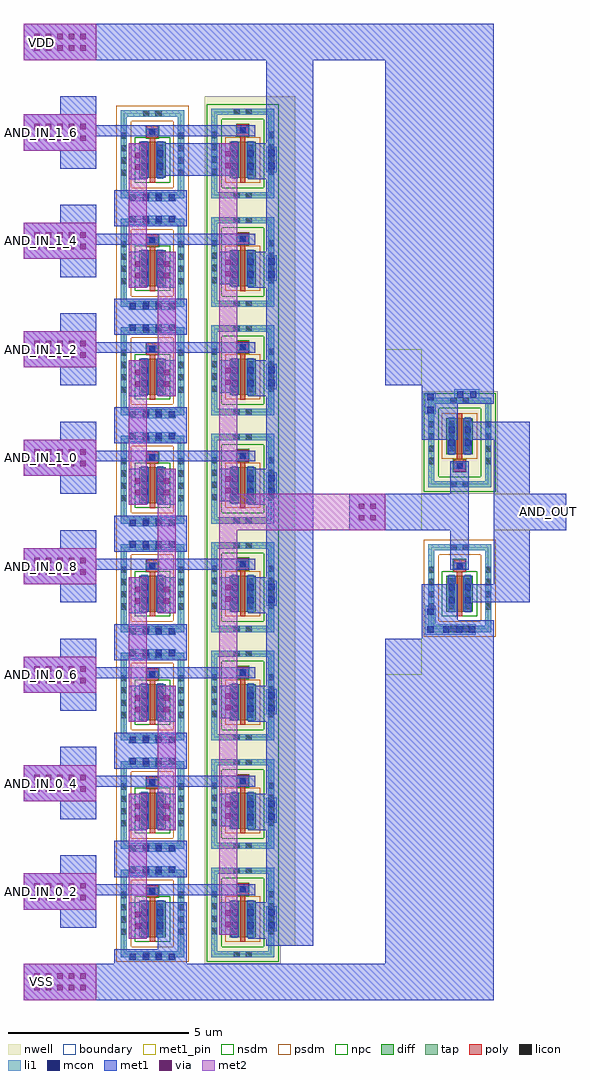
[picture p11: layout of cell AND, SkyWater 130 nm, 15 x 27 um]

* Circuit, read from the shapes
.subckt AND AND_IN_0_2 AND_IN_0_4 AND_IN_0_6 AND_IN_0_8 AND_IN_1_0 AND_IN_1_2 AND_IN_1_4 AND_IN_1_6 AND_OUT VDD VSS
XM1 VSS AND_IN_0_2 n1 VSS sky130_fd_pr__nfet_01v8 w=1 l=0.15
XM2 n2 AND_IN_0_4 n1 VSS sky130_fd_pr__nfet_01v8 w=1 l=0.15
XM3 n2 AND_IN_0_6 n3 VSS sky130_fd_pr__nfet_01v8 w=1 l=0.15
XM4 n4 AND_IN_0_8 n3 VSS sky130_fd_pr__nfet_01v8 w=1 l=0.15
XM5 n4 AND_IN_1_0 n5 VSS sky130_fd_pr__nfet_01v8 w=1 l=0.15
XM6 n6 AND_IN_1_2 n5 VSS sky130_fd_pr__nfet_01v8 w=1 l=0.15
XM7 n6 AND_IN_1_4 n7 VSS sky130_fd_pr__nfet_01v8 w=1 l=0.15
XM8 inv_x1_0/INV_IN AND_IN_1_6 n7 VSS sky130_fd_pr__nfet_01v8 w=1 l=0.15
XM9 AND_OUT inv_x1_0/INV_IN VSS VSS sky130_fd_pr__nfet_01v8 w=1 l=0.15
XM10 VDD AND_IN_0_2 inv_x1_0/INV_IN VDD sky130_fd_pr__pfet_01v8 w=1 l=0.15
XM11 VDD AND_IN_0_4 inv_x1_0/INV_IN VDD sky130_fd_pr__pfet_01v8 w=1 l=0.15
XM12 VDD AND_IN_0_6 inv_x1_0/INV_IN VDD sky130_fd_pr__pfet_01v8 w=1 l=0.15
XM13 VDD AND_IN_0_8 inv_x1_0/INV_IN VDD sky130_fd_pr__pfet_01v8 w=1 l=0.15
XM14 VDD AND_IN_1_0 inv_x1_0/INV_IN VDD sky130_fd_pr__pfet_01v8 w=1 l=0.15
XM15 VDD AND_IN_1_2 inv_x1_0/INV_IN VDD sky130_fd_pr__pfet_01v8 w=1 l=0.15
XM16 VDD AND_IN_1_4 inv_x1_0/INV_IN VDD sky130_fd_pr__pfet_01v8 w=1 l=0.15
XM17 VDD AND_IN_1_6 inv_x1_0/INV_IN VDD sky130_fd_pr__pfet_01v8 w=1 l=0.15
XM18 AND_OUT inv_x1_0/INV_IN VDD VDD sky130_fd_pr__pfet_01v8 w=1 l=0.15
.ends

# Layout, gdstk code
import gdstk
lib = gdstk.Library(unit=1e-6, precision=1e-09)
def R(c, l, rs):  # rectangles x0, y0, x1, y1
    for r in rs: c.add(gdstk.rectangle(r[:2], r[2:], *l))
def A(c, l, x, y, w, h, nx, ny, dx, dy):  # array of equal rectangles
    R(c, l, [(x+i*dx, y+j*dy, x+i*dx+w, y+j*dy+h) for i in range(nx) for j in range(ny)])
nwell = (64, 20)
diff = (65, 20)
tap = (65, 44)
poly = (66, 20)
licon = (66, 44)
li1 = (67, 20)
mcon = (67, 44)
met1_pin = (68, 16)
met1 = (68, 20)
via = (68, 44)
met2 = (69, 20)
nsdm = (93, 44)
psdm = (94, 20)
npc = (95, 20)
boundary = (235, 4)

sky130_fd_pr__nfet_01v8_ = lib.new_cell('sky130_fd_pr__nfet_01v8_64Z3AY')
R(sky130_fd_pr__nfet_01v8_, diff, [(-0.365,-0.655,0.365,0.345)])
R(sky130_fd_pr__nfet_01v8_, tap, [(-0.875,-1.215,0.875,-1.045), (-0.875,-1.045,-0.705,1.045), (0.705,-1.045,0.875,1.045), (-0.875,1.045,0.875,1.215)])
R(sky130_fd_pr__nfet_01v8_, poly, [(-0.075,-0.785,0.075,0.455), (-0.165,0.455,0.165,0.785)])
A(sky130_fd_pr__nfet_01v8_, licon, -0.875, -0.595, 0.17, 0.17, 1, 4, 0, 0.34)
A(sky130_fd_pr__nfet_01v8_, licon, 0.705, -0.595, 0.17, 0.17, 1, 4, 0, 0.34)
A(sky130_fd_pr__nfet_01v8_, licon, -0.305, -0.58, 0.17, 0.17, 1, 3, 0, 0.34)
A(sky130_fd_pr__nfet_01v8_, licon, 0.135, -0.58, 0.17, 0.17, 1, 3, 0, 0.34)
R(sky130_fd_pr__nfet_01v8_, licon, [(-0.255,-1.215,-0.085,-1.045), (0.085,-1.215,0.255,-1.045), (-0.085,0.535,0.085,0.705), (-0.255,1.045,-0.085,1.215), (0.085,1.045,0.255,1.215)])
R(sky130_fd_pr__nfet_01v8_, li1, [(-0.875,-1.215,0.875,-1.045), (-0.875,-1.045,-0.705,1.045), (0.705,-1.045,0.875,1.045), (-0.305,-0.675,-0.135,0.365), (0.135,-0.675,0.305,0.365), (-0.165,0.535,0.165,0.705), (-0.875,1.045,0.875,1.215)])
R(sky130_fd_pr__nfet_01v8_, mcon, [(-0.305,-0.42,-0.135,-0.25), (0.135,-0.42,0.305,-0.25), (-0.305,-0.06,-0.135,0.11), (0.135,-0.06,0.305,0.11), (-0.085,0.535,0.085,0.705)])
R(sky130_fd_pr__nfet_01v8_, met1, [(-0.335,-0.655,-0.105,0.345), (0.105,-0.655,0.335,0.345), (-0.145,0.505,0.145,0.735)])
R(sky130_fd_pr__nfet_01v8_, nsdm, [(-0.49,-0.78,0.49,0.47)])
R(sky130_fd_pr__nfet_01v8_, psdm, [(-1,-1.34,1,-0.92), (-1,-0.92,-0.58,0.92), (0.58,-0.92,1,0.92), (-1,0.92,1,1.34)])
R(sky130_fd_pr__nfet_01v8_, npc, [(-0.185,0.435,0.185,0.805)])
R(sky130_fd_pr__nfet_01v8_, boundary, [(-0.79,-1.13,0.79,1.13)])

sky130_fd_pr__pfet_01v8_ = lib.new_cell('sky130_fd_pr__pfet_01v8_LGS3BL')
R(sky130_fd_pr__pfet_01v8_, nwell, [(-1.055,-1.42,1.055,1.42)])
R(sky130_fd_pr__pfet_01v8_, diff, [(-0.365,-0.32,0.365,0.68)])
R(sky130_fd_pr__pfet_01v8_, tap, [(-0.875,-1.24,0.875,-1.07), (-0.875,-1.07,-0.705,1.07), (0.705,-1.07,0.875,1.07), (-0.875,1.07,0.875,1.24)])
R(sky130_fd_pr__pfet_01v8_, poly, [(-0.165,-0.805,0.165,-0.475), (-0.075,-0.475,0.075,0.81)])
A(sky130_fd_pr__pfet_01v8_, licon, -0.875, -0.595, 0.17, 0.17, 1, 4, 0, 0.34)
A(sky130_fd_pr__pfet_01v8_, licon, 0.705, -0.595, 0.17, 0.17, 1, 4, 0, 0.34)
A(sky130_fd_pr__pfet_01v8_, licon, -0.305, -0.245, 0.17, 0.17, 1, 3, 0, 0.34)
A(sky130_fd_pr__pfet_01v8_, licon, 0.135, -0.245, 0.17, 0.17, 1, 3, 0, 0.34)
R(sky130_fd_pr__pfet_01v8_, licon, [(-0.255,-1.24,-0.085,-1.07), (0.085,-1.24,0.255,-1.07), (-0.085,-0.725,0.085,-0.555), (-0.255,1.07,-0.085,1.24), (0.085,1.07,0.255,1.24)])
R(sky130_fd_pr__pfet_01v8_, li1, [(-0.875,-1.24,0.875,-1.07), (-0.875,-1.07,-0.705,1.07), (0.705,-1.07,0.875,1.07), (-0.165,-0.725,0.165,-0.555), (-0.305,-0.34,-0.135,0.7), (0.135,-0.34,0.305,0.7), (-0.875,1.07,0.875,1.24)])
R(sky130_fd_pr__pfet_01v8_, mcon, [(-0.085,-0.725,0.085,-0.555), (-0.305,-0.085,-0.135,0.085), (0.135,-0.085,0.305,0.085), (-0.305,0.275,-0.135,0.445), (0.135,0.275,0.305,0.445)])
R(sky130_fd_pr__pfet_01v8_, met1, [(-0.145,-0.755,0.145,-0.525), (-0.335,-0.32,-0.105,0.68), (0.105,-0.32,0.335,0.68)])
R(sky130_fd_pr__pfet_01v8_, nsdm, [(-1,-1.365,1,-0.945), (-1,-0.945,-0.58,0.945), (0.58,-0.945,1,0.945), (-1,0.945,1,1.365)])
R(sky130_fd_pr__pfet_01v8_, psdm, [(-0.49,-0.445,0.49,0.805)])
R(sky130_fd_pr__pfet_01v8_, npc, [(-0.185,-0.825,0.185,-0.455)])
R(sky130_fd_pr__pfet_01v8_, boundary, [(-0.79,-1.155,0.79,1.155)])

inv_x1 = lib.new_cell('inv_x1')
R(inv_x1, li1, [(2.1,-5.9,3.5,-5.6), (2.1,-5.6,2.4,-5.1), (2.1,0.2,2.4,0.8), (2.9,0.6,3.6,0.9)])
A(inv_x1, mcon, 2.6, -5.835, 0.17, 0.17, 3, 1, 0.36, 0)
R(inv_x1, mcon, [(2.165,-5.835,2.335,-5.665), (2.165,-5.34,2.335,-5.17), (2.165,0.235,2.335,0.405), (2.165,0.595,2.335,0.765), (2.985,0.665,3.155,0.835), (3.345,0.665,3.515,0.835)])
A(inv_x1, met1_pin, 1, -7, 1, 1, 1, 3, 0, 4)
R(inv_x1, met1_pin, [(4,-3,5,-2)])
R(inv_x1, met1, [(1,-7,4,-6), (2,-6,4,-5.5), (2,-5.5,3,-4.5), (3.2,-5,5,-4.5), (4,-4.5,5,-0.5), (2.8,-4.1,3.3,-3), (1,-3,3.3,-2), (2.8,-2,3.3,-1.1), (2,-0.5,3,0.5), (3.2,-0.5,5,0), (2,0.5,4,1), (1,1,4,2)])
inv_x1.add(gdstk.Reference(sky130_fd_pr__nfet_01v8_, (3.055,-4.605)))
inv_x1.add(gdstk.Reference(sky130_fd_pr__pfet_01v8_, (3.055,-0.58)))
inv_x1.add(gdstk.Label('VDD', (1.5,1.5), layer=68, texttype=5))
inv_x1.add(gdstk.Label('VSS', (1.5,-6.5), layer=68, texttype=5))
inv_x1.add(gdstk.Label('INV_OUT', (4.5,-2.5), layer=68, texttype=5))
inv_x1.add(gdstk.Label('INV_IN', (1.5,-2.5), layer=68, texttype=5))

c_sky130_fd_pr__pfet_01v8_ = lib.new_cell('sky130_fd_pr__pfet_01v8_MGS3BN')
R(c_sky130_fd_pr__pfet_01v8_, nwell, [(-1.055,-1.42,1.055,1.42)])
R(c_sky130_fd_pr__pfet_01v8_, diff, [(-0.365,-0.68,0.365,0.32)])
R(c_sky130_fd_pr__pfet_01v8_, tap, [(-0.875,-1.24,0.875,-1.07), (-0.875,-1.07,-0.705,1.07), (0.705,-1.07,0.875,1.07), (-0.875,1.07,0.875,1.24)])
R(c_sky130_fd_pr__pfet_01v8_, poly, [(-0.075,-0.81,0.075,0.475), (-0.165,0.475,0.165,0.805)])
A(c_sky130_fd_pr__pfet_01v8_, licon, -0.305, -0.605, 0.17, 0.17, 1, 3, 0, 0.34)
A(c_sky130_fd_pr__pfet_01v8_, licon, 0.135, -0.605, 0.17, 0.17, 1, 3, 0, 0.34)
A(c_sky130_fd_pr__pfet_01v8_, licon, -0.875, -0.595, 0.17, 0.17, 1, 4, 0, 0.34)
A(c_sky130_fd_pr__pfet_01v8_, licon, 0.705, -0.595, 0.17, 0.17, 1, 4, 0, 0.34)
R(c_sky130_fd_pr__pfet_01v8_, licon, [(-0.255,-1.24,-0.085,-1.07), (0.085,-1.24,0.255,-1.07), (-0.085,0.555,0.085,0.725), (-0.255,1.07,-0.085,1.24), (0.085,1.07,0.255,1.24)])
R(c_sky130_fd_pr__pfet_01v8_, li1, [(-0.875,-1.24,0.875,-1.07), (-0.875,-1.07,-0.705,1.07), (0.705,-1.07,0.875,1.07), (-0.305,-0.7,-0.135,0.34), (0.135,-0.7,0.305,0.34), (-0.165,0.555,0.165,0.725), (-0.875,1.07,0.875,1.24)])
R(c_sky130_fd_pr__pfet_01v8_, mcon, [(-0.305,-0.445,-0.135,-0.275), (0.135,-0.445,0.305,-0.275), (-0.305,-0.085,-0.135,0.085), (0.135,-0.085,0.305,0.085), (-0.085,0.555,0.085,0.725)])
R(c_sky130_fd_pr__pfet_01v8_, met1, [(-0.335,-0.68,-0.105,0.32), (0.105,-0.68,0.335,0.32), (-0.145,0.525,0.145,0.755)])
R(c_sky130_fd_pr__pfet_01v8_, nsdm, [(-1,-1.365,1,-0.945), (-1,-0.945,-0.58,0.945), (0.58,-0.945,1,0.945), (-1,0.945,1,1.365)])
R(c_sky130_fd_pr__pfet_01v8_, psdm, [(-0.49,-0.805,0.49,0.445)])
R(c_sky130_fd_pr__pfet_01v8_, npc, [(-0.185,0.455,0.185,0.825)])
R(c_sky130_fd_pr__pfet_01v8_, boundary, [(-0.79,-1.155,0.79,1.155)])

nand = lib.new_cell('NAND')
R(nand, nwell, [(4,-22,5.5,-21.5), (4,-21.5,6.5,2)])
A(nand, li1, 5.7, -21.1, 0.3, 0.7, 1, 8, 0, 3)
R(nand, li1, [(1.9,-21.9,3.2,-21.7), (1.9,-19.5,3.2,-19.3), (1.9,-18.9,3.2,-18.7), (1.9,-16.5,3.2,-16.3), (1.9,-15.9,3.2,-15.7), (1.9,-13.5,3.2,-13.3), (1.9,-12.9,3.2,-12.7), (1.9,-10.5,3.2,-10.3), (1.9,-9.9,3.2,-9.7), (1.9,-7.5,3.2,-7.3), (1.9,-6.9,3.2,-6.7), (1.9,-4.5,3.2,-4.3), (1.9,-3.9,3.2,-3.7), (1.9,-1.5,3.2,-1.3), (1.9,-0.9,3.2,-0.7)])
A(nand, mcon, 1.925, -21.885, 0.17, 0.17, 4, 2, 0.36, 2.4)
A(nand, mcon, 1.925, -18.885, 0.17, 0.17, 4, 2, 0.36, 2.4)
A(nand, mcon, 1.925, -15.885, 0.17, 0.17, 4, 2, 0.36, 2.4)
A(nand, mcon, 1.925, -12.885, 0.17, 0.17, 4, 2, 0.36, 2.4)
A(nand, mcon, 1.925, -9.885, 0.17, 0.17, 4, 2, 0.36, 2.4)
A(nand, mcon, 1.925, -6.885, 0.17, 0.17, 4, 2, 0.36, 2.4)
A(nand, mcon, 1.925, -3.885, 0.17, 0.17, 4, 2, 0.36, 2.4)
A(nand, mcon, 1.925, -0.885, 0.17, 0.17, 4, 1, 0.36, 0)
R(nand, mcon, [(5.765,-21.015,5.935,-20.845), (5.765,-20.655,5.935,-20.485), (5.765,-18.015,5.935,-17.845), (5.765,-17.655,5.935,-17.485), (5.765,-15.015,5.935,-14.845), (5.765,-14.655,5.935,-14.485), (5.765,-12.015,5.935,-11.845), (5.765,-11.655,5.935,-11.485), (5.765,-9.015,5.935,-8.845), (5.765,-8.655,5.935,-8.485), (5.765,-6.015,5.935,-5.845), (5.765,-5.655,5.935,-5.485), (5.765,-3.015,5.935,-2.845), (5.765,-2.655,5.935,-2.485), (5.765,-0.015,5.935,0.155), (5.765,0.345,5.935,0.515)])
A(nand, met1_pin, 0, -20.5, 1, 1, 1, 8, 0, 3)
R(nand, met1_pin, [(0,-23,1,-22), (8,-10,9,-9), (0,3,1,4)])
A(nand, met1, 1.9, -21.3, 0.5, 1, 1, 8, 0, 3)
A(nand, met1, 5.2, -21.3, 1.8, 1, 1, 8, 0, 3)
A(nand, met1, 4.4, -21.2, 0.5, 0.9, 1, 7, 0, 3)
A(nand, met1, 0, -21, 1, 0.9, 1, 8, 0, 3)
A(nand, met1, 5.7, -20.3, 1.3, 2, 1, 7, 0, 3)
A(nand, met1, 0, -20.1, 5.4, 0.3, 1, 8, 0, 3)
A(nand, met1, 0, -19.8, 1, 0.8, 1, 8, 0, 3)
A(nand, met1, 1.5, -19.6, 2, 1, 1, 7, 0, 3)
A(nand, met1, 2.7, -18.3, 0.5, 1, 1, 6, 0, 3)
R(nand, met1, [(0,-23,3.5,-22), (1.5,-22,3.5,-21.6), (2.7,-21.6,3.5,-20.3), (5.7,-21.5,7,-21.3), (8,-10,9,-9), (2.7,-0.2,4.9,0.7), (5.7,0.7,7,3), (0,3,7,4)])
R(nand, via, [(2.085,-21.03,2.235,-20.88), (4.575,-20.985,4.725,-20.835), (2.085,-20.71,2.235,-20.56), (4.575,-20.665,4.725,-20.515), (2.075,-18.035,2.225,-17.885), (2.875,-18.035,3.025,-17.885), (4.575,-17.985,4.725,-17.835), (2.075,-17.715,2.225,-17.565), (2.875,-17.715,3.025,-17.565), (4.575,-17.665,4.725,-17.515), (2.075,-15.035,2.225,-14.885), (2.875,-15.035,3.025,-14.885), (4.575,-14.985,4.725,-14.835), (2.075,-14.715,2.225,-14.565), (2.875,-14.715,3.025,-14.565), (4.575,-14.665,4.725,-14.515), (2.075,-12.035,2.225,-11.885), (2.875,-12.035,3.025,-11.885), (4.575,-11.985,4.725,-11.835), (2.075,-11.715,2.225,-11.565), (2.875,-11.715,3.025,-11.565), (4.575,-11.665,4.725,-11.515), (8.265,-9.735,8.415,-9.585), (8.585,-9.735,8.735,-9.585), (8.265,-9.415,8.415,-9.265), (8.585,-9.415,8.735,-9.265), (2.075,-9.035,2.225,-8.885), (2.875,-9.035,3.025,-8.885), (4.575,-8.985,4.725,-8.835), (2.075,-8.715,2.225,-8.565), (2.875,-8.715,3.025,-8.565), (4.575,-8.665,4.725,-8.515), (2.075,-6.035,2.225,-5.885), (2.875,-6.035,3.025,-5.885), (4.575,-5.985,4.725,-5.835), (2.075,-5.715,2.225,-5.565), (2.875,-5.715,3.025,-5.565), (4.575,-5.665,4.725,-5.515), (2.075,-3.035,2.225,-2.885), (2.875,-3.035,3.025,-2.885), (4.575,-2.985,4.725,-2.835), (2.075,-2.715,2.225,-2.565), (2.875,-2.715,3.025,-2.565), (4.575,-2.665,4.725,-2.515), (2.075,-0.035,2.225,0.115), (4.575,0.015,4.725,0.165), (2.075,0.285,2.225,0.435), (4.575,0.335,4.725,0.485)])
A(nand, met2, 1.9, -21.3, 0.5, 4, 1, 4, 0, 6)
A(nand, met2, 2.7, -18.3, 0.5, 4, 1, 3, 0, 6)
R(nand, met2, [(4.4,-21.2,4.9,-10), (4.4,-10,9,-9), (4.4,-9,4.9,0.7)])
A(nand, nsdm, 4.055, -19.215, 2, 0.27, 1, 7, 0, 3)
A(nand, psdm, 1.555, -19.265, 2, 0.32, 1, 7, 0, 3)
nand.add(gdstk.Reference(c_sky130_fd_pr__pfet_01v8_, (5.055,-20.58)))
nand.add(gdstk.Reference(c_sky130_fd_pr__pfet_01v8_, (5.055,-17.58)))
nand.add(gdstk.Reference(c_sky130_fd_pr__pfet_01v8_, (5.055,-14.58)))
nand.add(gdstk.Reference(c_sky130_fd_pr__pfet_01v8_, (5.055,-11.58)))
nand.add(gdstk.Reference(c_sky130_fd_pr__pfet_01v8_, (5.055,-8.58)))
nand.add(gdstk.Reference(c_sky130_fd_pr__pfet_01v8_, (5.055,-5.58)))
nand.add(gdstk.Reference(c_sky130_fd_pr__pfet_01v8_, (5.055,0.42)))
nand.add(gdstk.Reference(sky130_fd_pr__nfet_01v8_, (2.555,-2.605)))
nand.add(gdstk.Reference(sky130_fd_pr__nfet_01v8_, (2.555,-5.605)))
nand.add(gdstk.Reference(sky130_fd_pr__nfet_01v8_, (2.555,-8.605)))
nand.add(gdstk.Reference(sky130_fd_pr__nfet_01v8_, (2.555,-11.605)))
nand.add(gdstk.Reference(sky130_fd_pr__nfet_01v8_, (2.555,-14.605)))
nand.add(gdstk.Reference(sky130_fd_pr__nfet_01v8_, (2.555,-17.605)))
nand.add(gdstk.Reference(sky130_fd_pr__nfet_01v8_, (2.555,-20.605)))
nand.add(gdstk.Reference(c_sky130_fd_pr__pfet_01v8_, (5.055,-2.58)))
nand.add(gdstk.Reference(sky130_fd_pr__nfet_01v8_, (2.555,0.395)))
nand.add(gdstk.Label('NAND_OUT', (8.5,-9.5), layer=68, texttype=5))
nand.add(gdstk.Label('NAND_IN_7', (0.5,1), layer=68, texttype=5))
nand.add(gdstk.Label('VDD', (0.5,3.5), layer=68, texttype=5))
nand.add(gdstk.Label('NAND_IN_6', (0.5,-2), layer=68, texttype=5))
nand.add(gdstk.Label('VSS', (0.5,-22.5), layer=68, texttype=5))
nand.add(gdstk.Label('NAND_IN_5', (0.5,-5), layer=68, texttype=5))
nand.add(gdstk.Label('NAND_IN_4', (0.5,-8), layer=68, texttype=5))
nand.add(gdstk.Label('NAND_IN_3', (0.5,-11), layer=68, texttype=5))
nand.add(gdstk.Label('NAND_IN_2', (0.5,-14), layer=68, texttype=5))
nand.add(gdstk.Label('NAND_IN_1', (0.5,-17), layer=68, texttype=5))
nand.add(gdstk.Label('NAND_IN_0', (0.5,-20), layer=68, texttype=5))

and_ = lib.new_cell('AND')
A(and_, met1_pin, 0.5, -20, 1, 1, 1, 8, 0, 3)
R(and_, met1_pin, [(0.5,-22.5,1.5,-21.5), (14.5,-9.5,15.5,-8.5), (0.5,3.5,1.5,4.5)])
A(and_, met1, 0.5, -19.9, 1.9, 0.8, 1, 8, 0, 3)
R(and_, met1, [(0.5,-22.5,1.5,-22.4), (5,-22.5,13.5,-21.5), (0.5,-22.4,2.4,-21.6), (0.5,-21.6,1.5,-21.5), (10.5,-21.5,13.5,-13.5), (0.5,-20,1.5,-19.9), (0.5,-19.1,1.5,-19), (0.5,-17,1.5,-16.9), (0.5,-16.1,1.5,-16), (0.5,-14,1.5,-13.9), (0.5,-13.1,1.5,-13), (0.5,-11,1.5,-10.9), (0.5,-10.1,1.5,-10), (14.5,-9.5,15.5,-8.5), (0.5,-8,1.5,-7.9), (0.5,-7.1,1.5,-7), (10.5,-5.5,13.5,3.5), (0.5,-5,1.5,-4.9), (0.5,-4.1,1.5,-4), (0.5,-2,1.5,-1.9), (0.5,-1.1,1.5,-1), (0.5,1,1.5,1.1), (0.5,1.9,1.5,2), (0.5,3.5,1.5,3.6), (7,3.5,13.5,4.5), (0.5,3.6,2.4,4.4), (0.5,4.4,1.5,4.5)])
A(and_, via, 0.785, -22.235, 0.15, 0.15, 5, 2, 0.32, 0.32)
A(and_, via, 0.785, -19.735, 0.15, 0.15, 5, 2, 0.32, 0.32)
A(and_, via, 0.785, -16.735, 0.15, 0.15, 5, 2, 0.32, 0.32)
A(and_, via, 0.785, -13.735, 0.15, 0.15, 5, 2, 0.32, 0.32)
A(and_, via, 0.785, -10.735, 0.15, 0.15, 5, 2, 0.32, 0.32)
A(and_, via, 0.785, -7.735, 0.15, 0.15, 5, 2, 0.32, 0.32)
A(and_, via, 0.785, -4.735, 0.15, 0.15, 5, 2, 0.32, 0.32)
A(and_, via, 0.785, -1.735, 0.15, 0.15, 5, 2, 0.32, 0.32)
A(and_, via, 0.785, 1.265, 0.15, 0.15, 5, 2, 0.32, 0.32)
A(and_, via, 0.785, 3.765, 0.15, 0.15, 5, 2, 0.32, 0.32)
A(and_, met2, 0.5, -20, 2, 1, 1, 8, 0, 3)
R(and_, met2, [(0.5,-22.5,2.5,-21.5), (0.5,3.5,2.5,4.5)])
and_.add(gdstk.Reference(inv_x1, (9.5,-6.5)))
and_.add(gdstk.Reference(nand, (1.5,0.5)))
and_.add(gdstk.Label('VDD', (1,4), layer=68, texttype=5))
and_.add(gdstk.Label('VSS', (1,-22), layer=68, texttype=5))
and_.add(gdstk.Label('AND_IN_1_6', (1,1.5), layer=68, texttype=5))
and_.add(gdstk.Label('AND_IN_1_4', (1,-1.5), layer=68, texttype=5))
and_.add(gdstk.Label('AND_IN_1_2', (1,-4.5), layer=68, texttype=5))
and_.add(gdstk.Label('AND_IN_1_0', (1,-7.5), layer=68, texttype=5))
and_.add(gdstk.Label('AND_OUT', (15,-9), layer=68, texttype=5))
and_.add(gdstk.Label('AND_IN_0_8', (1,-10.5), layer=68, texttype=5))
and_.add(gdstk.Label('AND_IN_0_6', (1,-13.5), layer=68, texttype=5))
and_.add(gdstk.Label('AND_IN_0_4', (1,-16.5), layer=68, texttype=5))
and_.add(gdstk.Label('AND_IN_0_2', (1,-19.5), layer=68, texttype=5))

lib.write_gds('AND.gds')
